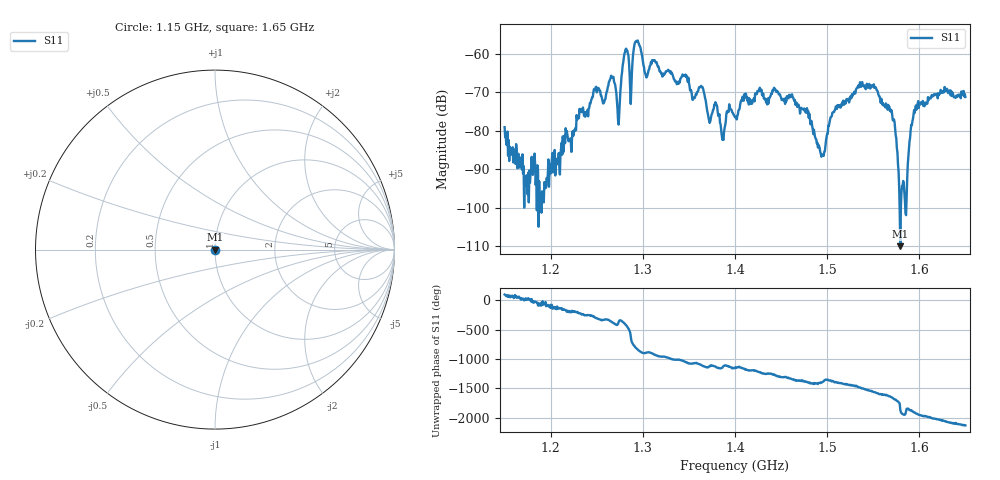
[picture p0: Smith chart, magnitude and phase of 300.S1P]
! C:\Users\rflab\Downloads\Lab5_KD_ZW\Q2\300.S1P
! Touchstone 1.1 file saved by VNA.EXE V1.65 (www.ke5fx.com/gpib/readme.htm)
! 11/12/2024 1:31:43 AM
!  Source: HEWLETT PACKARD,8753D,0,6.14
!  Min freq: 1.150000E+009 Hz
!  Max freq: 1.650000E+009 Hz
!  Points: 801
!  Params: S21
# GHZ S RI R 50
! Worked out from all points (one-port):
!   801 points, 1.15 GHz to 1.65 GHz, reference 50 ohm
!   lowest |S11| = -110.0 dB at 1.579 GHz (marker M1), VSWR 1.00, Z = 50 - j0.0003 ohm
!   |S11| at or under -10 dB: start of sweep to end of sweep
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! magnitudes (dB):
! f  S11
! 1.15 GHz  -79.1
! 1.212 GHz  -86.2
! 1.225 GHz  -80.9
! 1.249 GHz  -68.6
! 1.258 GHz  -72.5
! 1.266 GHz  -65.7
! 1.275 GHz  -72.7
! 1.281 GHz  -59.6
! 1.288 GHz  -69.1
! 1.293 GHz  -56.7
! 1.303 GHz  -65.5
! 1.312 GHz  -61.7
! 1.337 GHz  -67.6
! 1.364 GHz  -68.5
! 1.372 GHz  -77.4
! 1.379 GHz  -72.6
! 1.386 GHz  -82.3
! 1.393 GHz  -75.1
! 1.4 GHz  -76.5
! 1.426 GHz  -69.7
! 1.462 GHz  -71.3
! 1.489 GHz  -83.3
! 1.525 GHz  -71.2
! 1.551 GHz  -68.0
! 1.579 GHz  -110.0
! 1.587 GHz  -88.7
! 1.6 GHz  -73.0
! 1.65 GHz  -71.3
